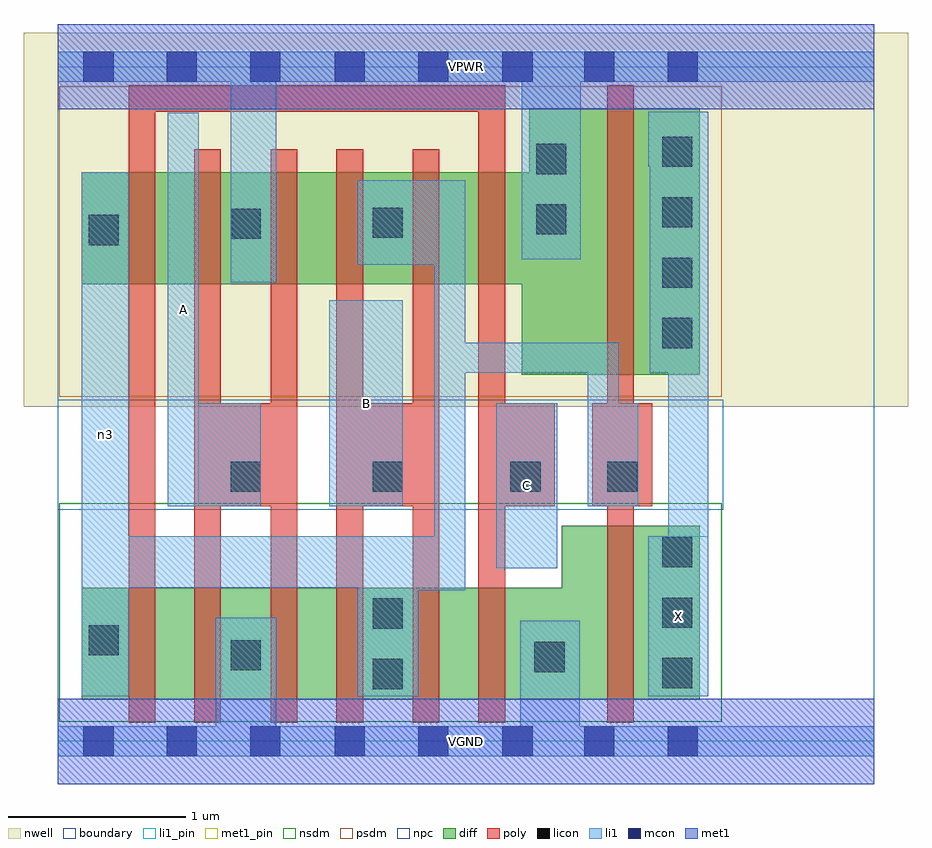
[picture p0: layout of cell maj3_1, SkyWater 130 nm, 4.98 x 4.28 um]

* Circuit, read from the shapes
.subckt maj3_1 A B C VGND VPWR X n3
XM1 n1 C n3 VSUBS sky130_fd_pr__nfet_01v8 w=0.63 l=0.15
XM2 VGND A n1 VSUBS sky130_fd_pr__nfet_01v8 w=0.63 l=0.15
XM3 n2 A VGND VSUBS sky130_fd_pr__nfet_01v8 w=0.63 l=0.15
XM4 n3 B n2 VSUBS sky130_fd_pr__nfet_01v8 w=0.63 l=0.15
XM5 n4 B n3 VSUBS sky130_fd_pr__nfet_01v8 w=0.63 l=0.15
XM6 VGND C n4 VSUBS sky130_fd_pr__nfet_01v8 w=0.63 l=0.15
XM7 X n3 VGND VSUBS sky130_fd_pr__nfet_01v8 w=0.98 l=0.15
XM8 n5 C n3 n6 sky130_fd_pr__pfet_01v8 w=0.63 l=0.15
XM9 VPWR A n5 n6 sky130_fd_pr__pfet_01v8 w=0.63 l=0.15
XM10 n7 A VPWR n6 sky130_fd_pr__pfet_01v8 w=0.63 l=0.15
XM11 n3 B n7 n6 sky130_fd_pr__pfet_01v8 w=0.63 l=0.15
XM12 n8 B n3 n6 sky130_fd_pr__pfet_01v8 w=0.63 l=0.15
XM13 VPWR C n8 n6 sky130_fd_pr__pfet_01v8 w=0.63 l=0.15
XM14 X n3 VPWR n6 sky130_fd_pr__pfet_01v8 w=1.5 l=0.15
.ends

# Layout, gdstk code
import gdstk
lib = gdstk.Library(unit=1e-6, precision=1e-09)
def R(c, l, rs):  # rectangles x0, y0, x1, y1
    for r in rs: c.add(gdstk.rectangle(r[:2], r[2:], *l))
def A(c, l, x, y, w, h, nx, ny, dx, dy):  # array of equal rectangles
    R(c, l, [(x+i*dx, y+j*dy, x+i*dx+w, y+j*dy+h) for i in range(nx) for j in range(ny)])
nwell = (64, 20)
diff = (65, 20)
poly = (66, 20)
licon = (66, 44)
li1_pin = (67, 16)
li1 = (67, 20)
mcon = (67, 44)
met1_pin = (68, 16)
met1 = (68, 20)
nsdm = (93, 44)
psdm = (94, 20)
npc = (95, 20)
boundary = (235, 4)

maj3_1 = lib.new_cell('maj3_1')
R(maj3_1, nwell, [(-0.19,1.885,4.79,3.99), (0,1.885,4.6,3.99)])
R(maj3_1, diff, [(0.135,0.235,3.615,0.865), (2.84,0.235,3.615,1.215), (2.615,2.065,3.615,3.205), (2.655,2.065,3.615,3.565), (0.135,2.575,3.615,3.205)])
R(maj3_1, poly, [(0.4,0.105,0.55,3.695), (0.77,0.105,0.92,3.335), (1.2,0.105,1.35,3.335), (1.57,0.105,1.72,3.335), (2,0.105,2.15,3.335), (2.37,0.105,2.52,3.695), (3.095,0.105,3.245,3.695), (0.77,1.325,1.35,1.905), (1.57,1.325,2.15,1.905), (2.37,1.325,2.8,1.905), (3.01,1.325,3.35,1.905), (0.4,3.545,2.52,3.695)])
A(maj3_1, licon, 3.405, 0.3, 0.17, 0.17, 1, 3, 0, 0.34)
A(maj3_1, licon, 3.405, 2.215, 0.17, 0.17, 1, 4, 0, 0.34)
R(maj3_1, licon, [(1.775,0.295,1.945,0.465), (2.685,0.39,2.855,0.56), (0.975,0.4,1.145,0.57), (0.175,0.485,0.345,0.655), (1.775,0.635,1.945,0.805), (0.975,1.405,1.145,1.575), (1.775,1.405,1.945,1.575), (2.55,1.405,2.72,1.575), (3.095,1.405,3.265,1.575), (0.175,2.795,0.345,2.965), (0.975,2.83,1.145,3), (1.775,2.835,1.945,3.005), (2.695,2.855,2.865,3.025), (2.695,3.195,2.865,3.365)])
R(maj3_1, li1_pin, [(3.325,0.255,3.665,1.155), (2.47,0.975,2.815,1.905), (0.62,1.325,0.795,3.54), (1.53,1.325,1.945,2.485)])
R(maj3_1, li1, [(0,-0.085,4.6,0.085), (0.89,-0.085,1.23,0.695), (2.605,-0.085,2.94,0.68), (0.135,0.255,0.4,3.205), (1.69,0.255,2.03,1.155), (3.325,0.255,3.665,1.155), (3.44,0.255,3.665,3.545), (1.69,0.85,2.295,1.155), (2.12,0.85,2.295,3.16), (0.135,0.865,2.295,1.155), (2.47,0.975,2.815,1.905), (0.62,1.325,0.795,3.54), (0.62,1.325,1.145,1.905), (1.53,1.325,1.945,2.485), (2.985,1.325,3.27,1.905), (2.985,1.325,3.16,2.245), (2.12,2.075,3.16,2.245), (3.335,2.075,3.665,3.545), (0.975,2.585,1.23,3.885), (1.69,2.685,2.295,3.16), (2.615,2.715,2.945,3.885), (3.325,3.24,3.665,3.545), (0,3.715,4.6,3.885)])
A(maj3_1, mcon, 0.145, -0.085, 0.17, 0.17, 3, 2, 0.47, 3.8)
R(maj3_1, mcon, [(1.56,-0.085,1.73,0.085), (2.03,-0.085,2.2,0.085), (2.505,-0.085,2.675,0.085), (2.965,-0.085,3.135,0.085), (3.435,-0.085,3.605,0.085), (1.56,3.715,1.73,3.885), (2.03,3.715,2.2,3.885), (2.505,3.715,2.675,3.885), (2.965,3.715,3.135,3.885), (3.435,3.715,3.605,3.885)])
R(maj3_1, met1_pin, [(0,-0.24,4.6,0.24), (0,3.56,4.6,4.04)])
R(maj3_1, met1, [(0,-0.24,4.6,0.24), (0,3.56,4.6,4.04)])
R(maj3_1, nsdm, [(0.01,0.11,3.74,1.34)])
R(maj3_1, psdm, [(0.01,1.94,3.74,3.69)])
R(maj3_1, npc, [(0,1.305,3.75,1.925)])
R(maj3_1, boundary, [(0,0,4.6,3.8)])
maj3_1.add(gdstk.Label('A', (0.707,2.432), layer=67, texttype=5))
maj3_1.add(gdstk.Label('B', (1.737,1.905), layer=67, texttype=5))
maj3_1.add(gdstk.Label('C', (2.642,1.44), layer=67, texttype=5))
maj3_1.add(gdstk.Label('X', (3.495,0.705), layer=67, texttype=5))
maj3_1.add(gdstk.Label('n3', (0.267,1.73), layer=67, texttype=5))
maj3_1.add(gdstk.Label('VPWR', (2.3,3.8), layer=68, texttype=5))
maj3_1.add(gdstk.Label('VGND', (2.3,0), layer=68, texttype=5))
maj3_1.add(gdstk.Label('A', (0.707,2.432), layer=67, texttype=16))
maj3_1.add(gdstk.Label('B', (1.737,1.905), layer=67, texttype=16))
maj3_1.add(gdstk.Label('C', (2.642,1.44), layer=67, texttype=16))
maj3_1.add(gdstk.Label('X', (3.495,0.705), layer=67, texttype=16))
maj3_1.add(gdstk.Label('VPWR', (2.3,3.8), layer=68, texttype=16))
maj3_1.add(gdstk.Label('VGND', (2.3,0), layer=68, texttype=16))

lib.write_gds('maj3_1.gds')
